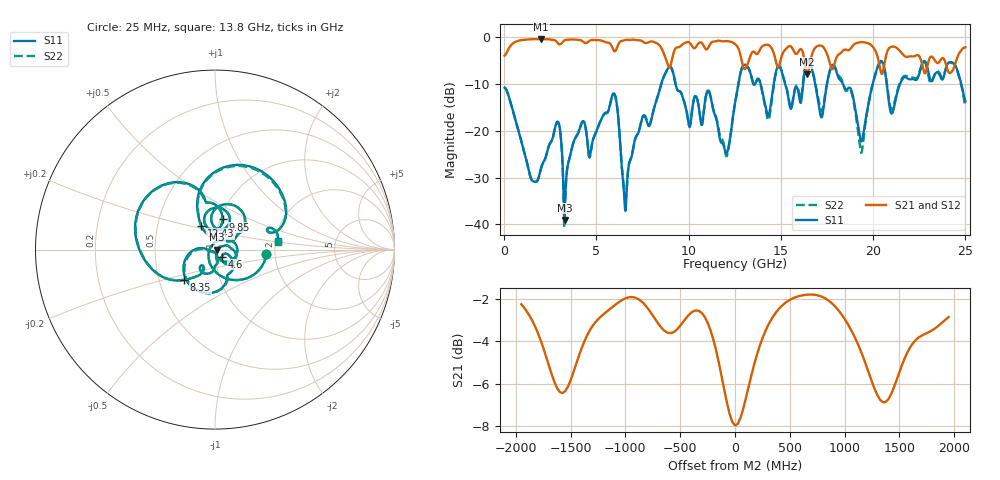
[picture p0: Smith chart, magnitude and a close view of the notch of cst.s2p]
! R_s4_rect_n0: Finite board 24 × 16 mm, via L1 → L4 through the L2/L3 cavity, no return via
! stackup: 4-layer 1.6 mm FR-4
! ports: 1 L1, 2 L4
! CST Studio Suite 2025.5 Release from 2025-05-30, time domain (FIT, hexahedral, PBA), 267410 mesh cells, 68 s
! mesh: {'lpw': 20, 'lpb': 20, 'minstep': 0.0, 'ratio': 20}; ports: port 1 (face); port 2 (face)
! interpolated from CST's 1001 samples to the case grid
# Hz S RI R 50
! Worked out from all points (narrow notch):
!   1000 points, 25 MHz to 25 GHz, reference 50 ohm
!   highest |S21| = -0.43 dB at 2 GHz (marker M1); lowest = -8.0 dB at 16.43 GHz (marker M2)
!   notch at M2: 5.9 dB deep, 329 MHz wide at half that depth
!   lowest |S11| = -39.0 dB at 3.275 GHz (marker M3), VSWR 1.02, Z = 51.1 - j0.108 ohm
!   |S11| at or under -10 dB: start of sweep to 8.513 GHz; 9.29 GHz to 12.7 GHz (3.406 GHz wide, 31 % of centre); 18.36 GHz to 19.98 GHz (1.615 GHz wide, 8.42 % of centre)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
!   |S22| runs from -40.7 to -4.9 dB; largest |S21 - S12| = 0.0004
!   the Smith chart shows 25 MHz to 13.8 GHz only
!   S11 on the Smith chart (normalised r, x): 25 MHz: 1.80, -0.10; 4.6 GHz: 1.08, -0.08; 8.35 GHz: 0.67, -0.24; 9.85 GHz: 1.03, +0.36; 12.43 GHz: 0.83, +0.23; 13.8 GHz: 2.07, +0.23
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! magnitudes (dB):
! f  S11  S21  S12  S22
! 25 MHz  -10.8  -4.0  -4.0  -10.8
! 2 GHz  -28.0  -0.4  -0.4  -28.0
! 2.9 GHz  -18.1  -1.3  -1.3  -18.1
! 3.275 GHz  -39.0  -0.7  -0.7  -40.7
! 4.2 GHz  -18.3  -0.8  -0.8  -18.4
! 4.6 GHz  -25.3  -0.9  -0.9  -25.5
! 5.975 GHz  -12.1  -3.0  -3.0  -12.2
! 6.575 GHz  -37.1  -0.6  -0.6  -35.5
! 8.35 GHz  -12.3  -1.5  -1.5  -12.3
! 9.85 GHz  -15.2  -1.2  -1.2  -15.1
! 12.43 GHz  -16.3  -1.2  -1.2  -16.4
! 12.53 GHz  -13.9  -1.5  -1.5  -13.9
! 13.8 GHz  -9.0  -3.2  -3.2  -9.0
! 16.43 GHz  -5.2  -8.0  -8.0  -5.0
! 16.68 GHz  -6.7  -3.9  -3.9  -6.6
! 17.18 GHz  -17.0  -1.8  -1.8  -15.7
! 18.75 GHz  -10.9  -2.6  -2.6  -11.1
! 19.35 GHz  -22.3  -1.1  -1.1  -24.7
! 20.32 GHz  -5.5  -5.7  -5.7  -5.7
! 20.85 GHz  -13.7  -2.5  -2.5  -13.2
! 24.2 GHz  -5.4  -7.6  -7.6  -5.5
! 25 GHz  -13.7  -2.2  -2.2  -15.0
